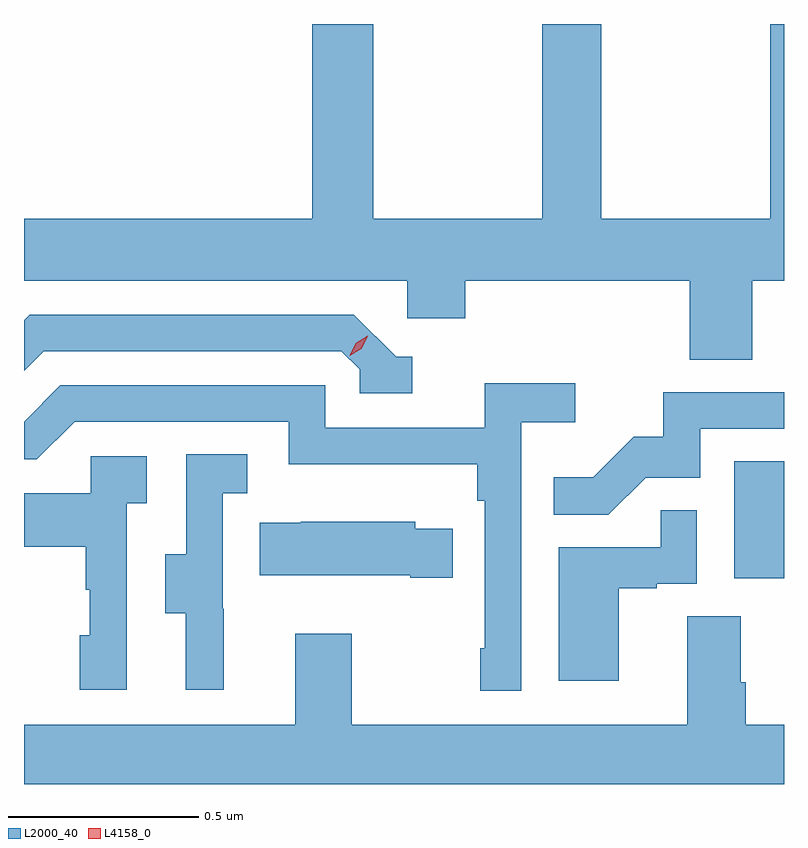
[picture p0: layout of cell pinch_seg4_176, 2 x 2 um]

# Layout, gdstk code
import gdstk
lib = gdstk.Library(unit=1e-6, precision=1e-09)
def R(c, l, rs):  # rectangles x0, y0, x1, y1
    for r in rs: c.add(gdstk.rectangle(r[:2], r[2:], *l))
def P(c, l, *ps):  # polygons
    for p in ps: c.add(gdstk.Polygon(p, *l))
L2000_40 = (2000, 40)
L4158_0 = (4158, 0)

pinch_seg4_176 = lib.new_cell('pinch_seg4_176')
R(pinch_seg4_176, L2000_40, [(1109.084,793.374,1109.215,793.681)])
P(pinch_seg4_176, L2000_40, [(1109.132,794.156),(1109.215,794.156),(1109.215,794.832),(1109.179,794.832),(1109.179,794.32),(1108.734,794.32),(1108.734,794.832),(1108.579,794.832),(1108.579,794.32),(1108.134,794.32),(1108.134,794.832),(1107.974,794.832),(1107.974,794.32),(1107.215,794.32),(1107.215,794.156),(1108.224,794.156),(1108.224,794.058),(1108.376,794.058),(1108.376,794.156),(1108.967,794.156),(1108.967,793.948),(1109.132,793.948)],
  [(1108.237,793.956),(1108.194,793.956),(1108.083,794.067),(1107.23,794.067),(1107.215,794.052),(1107.215,793.919),(1107.267,793.971),(1108.05,793.971),(1108.098,793.923),(1108.098,793.86),(1108.237,793.86)],
  [(1108.524,793.784),(1108.666,793.784),(1108.666,793.886),(1108.427,793.886),(1108.427,793.77),(1108.008,793.77),(1108.008,793.881),(1107.311,793.881),(1107.215,793.785),(1107.215,793.686),(1107.249,793.686),(1107.348,793.785),(1107.912,793.785),(1107.912,793.673),(1108.408,793.673),(1108.408,793.577),(1108.428,793.577),(1108.428,793.189),(1108.416,793.189),(1108.416,793.077),(1108.524,793.077)],
  [(1108.851,793.638),(1108.995,793.638),(1108.995,793.767),(1109.215,793.767),(1109.215,793.863),(1108.897,793.863),(1108.897,793.746),(1108.82,793.746),(1108.713,793.639),(1108.609,793.639),(1108.609,793.54),(1108.753,793.54)],
  [(1107.74,793.293),(1107.738,793.293),(1107.738,793.597),(1107.802,793.597),(1107.802,793.7),(1107.642,793.7),(1107.642,793.437),(1107.587,793.437),(1107.587,793.282),(1107.641,793.282),(1107.641,793.08),(1107.74,793.08)],
  [(1107.486,793.571),(1107.538,793.571),(1107.538,793.695),(1107.39,793.695),(1107.39,793.597),(1107.215,793.597),(1107.215,793.457),(1107.378,793.457),(1107.378,793.343),(1107.388,793.343),(1107.388,793.224),(1107.362,793.224),(1107.362,793.08),(1107.486,793.08)],
  [(1108.78,793.347),(1108.88,793.347),(1108.88,793.359),(1108.986,793.359),(1108.986,793.553),(1108.891,793.553),(1108.891,793.455),(1108.622,793.455),(1108.622,793.104),(1108.78,793.104)],
  [(1108.343,793.504),(1108.245,793.504),(1108.245,793.522),(1107.943,793.522),(1107.943,793.519),(1107.835,793.519),(1107.835,793.382),(1108.232,793.382),(1108.232,793.375),(1108.343,793.375)],
  [(1109.215,792.988),(1109.114,792.988),(1109.114,793.1),(1109.101,793.1),(1109.101,793.274),(1108.961,793.274),(1108.961,792.988),(1108.077,792.988),(1108.077,793.228),(1107.929,793.228),(1107.929,792.988),(1107.215,792.988),(1107.215,792.832),(1109.215,792.832)])
P(pinch_seg4_176, L4158_0, [(1108.072,793.959),(1108.072,793.959),(1108.088,793.992),(1108.119,794.011),(1108.119,794.011),(1108.119,794.01),(1108.103,793.978),(1108.072,793.959)])

lib.write_gds('pinch_seg4_176.gds')
